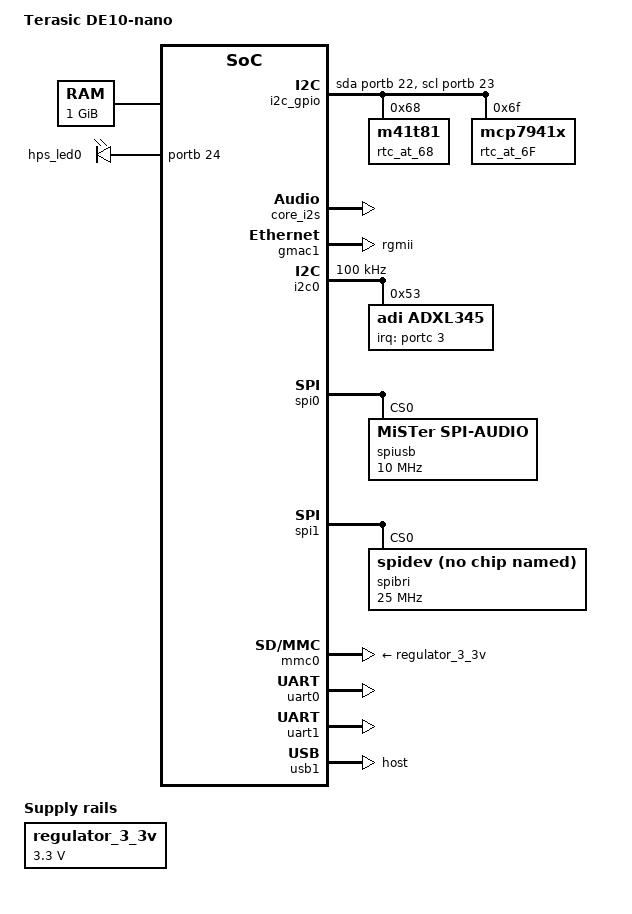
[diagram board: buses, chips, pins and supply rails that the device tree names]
/*
 * Copyright Altera Corporation (C) 2015. All rights reserved.
 *
 * This program is free software; you can redistribute it and/or modify
 * it under the terms and conditions of the GNU General Public License,
 * version 2, as published by the Free Software Foundation.
 *
 * This program is distributed in the hope it will be useful, but WITHOUT
 * ANY WARRANTY; without even the implied warranty of MERCHANTABILITY or
 * FITNESS FOR A PARTICULAR PURPOSE.  See the GNU General Public License for
 * more details.
 *
 * You should have received a copy of the GNU General Public License along with
 * this program.  If not, see <http://www.gnu.org/licenses/>.
 */

#include "socfpga_cyclone5.dtsi"
#include <dt-bindings/gpio/gpio.h>

/ {
	model = "Terasic DE10-nano";
	compatible = "altr,socfpga-cyclone5", "altr,socfpga";

	chosen {
		bootargs = "earlyprintk";
		stdout-path = "serial0:115200n8";
	};

	memory {
		name = "memory";
		device_type = "memory";
		reg = <0x0 0x40000000>; /* 1GB */
	};

	aliases {
		ethernet0 = &gmac1;
	};

	regulator_3_3v: 3-3-v-regulator {
		compatible = "regulator-fixed";
		regulator-name = "3.3V";
		regulator-min-microvolt = <3300000>;
		regulator-max-microvolt = <3300000>;
	};

	leds {
		compatible = "gpio-leds";
		hps0 {
			label = "hps_led0";
			gpios = <&portb 24 0>;
			linux,default-trigger = "mmc0";
		};
	};
/*
	ltcmode {
		compatible = "gpio-leds";
		ltcsw {
			label = "ltc_sw";
			gpios = <&portb 11 0>;
			default-state = "off";
		};
	};
*/

	i2c_gpio {
		#address-cells = <1>;
		#size-cells = <0>;
		compatible = "i2c-gpio";
		gpios = <&portb 22 (GPIO_ACTIVE_HIGH|GPIO_OPEN_DRAIN)
                         &portb 23 (GPIO_ACTIVE_HIGH|GPIO_OPEN_DRAIN)>;
		i2c-gpio,delay-us = <2>;

		rtc_at_68 {
		        compatible = "m41t81";
		        reg = <0x68>;
		};
		rtc_at_6F {
		        compatible = "mcp7941x";
		        reg = <0x6F>;
		};
	};

	vip {
		compatible = "MiSTer,VIP";
		reg = <0xff231000 0x1000>; 
	};

	MiSTer_fb {
		compatible = "MiSTer_fb";
		reg = <0x22000000 0x800000>; 
		interrupt-parent = <&intc>;
		interrupts = < 0 40 1 >;
	};

    audio {
        compatible = "MiSTer,Audio";
        cpu-link = <&core_i2s>;
        reg = <0xff200010 0x10>;
    };

	clk48: clk48 {
		compatible = "fixed-clock";
		#clock-cells = <0>;
		clock-frequency  = <24576000>;
		clock-output-names = "clk48";
	};

	clk44: clk44 {
		compatible = "fixed-clock";
		#clock-cells = <0>;
		clock-frequency  = <33868800>;
		clock-output-names = "clk44";
	};

	core_i2s: core_i2s {
		#sound-dai-cells = <1>;
		compatible = "opencores,i2s";
		reg = <0xff200000 0x10>, <0xff200020 0x20>;
		clocks = <&clk44>, <&clk48>;
		clock-names = "clk44", "clk48";
		dmas = <&pdma 0>, <&pdma 1>;
		dma-names = "tx", "rx";
	};
};

&gmac1 {
	status = "okay";
	phy-mode = "rgmii";

	txd0-skew-ps = <0>; /* -420ps */
	txd1-skew-ps = <0>; /* -420ps */
	txd2-skew-ps = <0>; /* -420ps */
	txd3-skew-ps = <0>; /* -420ps */
	rxd0-skew-ps = <420>; /* 0ps */
	rxd1-skew-ps = <420>; /* 0ps */
	rxd2-skew-ps = <420>; /* 0ps */
	rxd3-skew-ps = <420>; /* 0ps */
	txen-skew-ps = <0>; /* -420ps */
	txc-skew-ps = <1860>; /* 960ps */
	rxdv-skew-ps = <420>; /* 0ps */
	rxc-skew-ps = <1680>; /* 780ps */

	max-frame-size = <3800>;
};

&gpio0 {
	status = "okay";
};

&gpio1 {
	status = "okay";
};

&gpio2 {
	status = "okay";
};

&i2c0 {
	status = "okay";
	clock-frequency = <100000>;

	adxl345: adxl345@53 {
		compatible = "adi,adxl345";
		reg = <0x53>;

		interrupt-parent = <&portc>;
		interrupts = <3 2>;
	};
};

&spi0 {
	status = "okay";
	timeouts = <3>;

	spiusb: spiusb@0 {
		compatible = "MiSTer,spi-audio";
		reg = <0>;
		spi-max-frequency = <10000000>;
		spi-cpha;
		spi-cpol;
		status = "okay";
	};

};

&spi1 {
	status = "okay";
	timeouts = <3>;

	spibri: spibri@0 {
		status = "okay";
		compatible = "spidev";
		spi-max-frequency = <25000000>;
		reg = <0>;
	};

};

&mmc0 {
	vmmc-supply = <&regulator_3_3v>;
	vqmmc-supply = <&regulator_3_3v>;
	status = "okay";
};

&uart0 {
	/delete-property/dmas;
	/delete-property/dma-names;
	status = "okay";
};

&uart1 {
	/delete-property/dmas;
	/delete-property/dma-names;
	status = "okay";
};

&usb1 {
	disable-over-current;
	dr_mode = "host";
	status = "okay";
};
